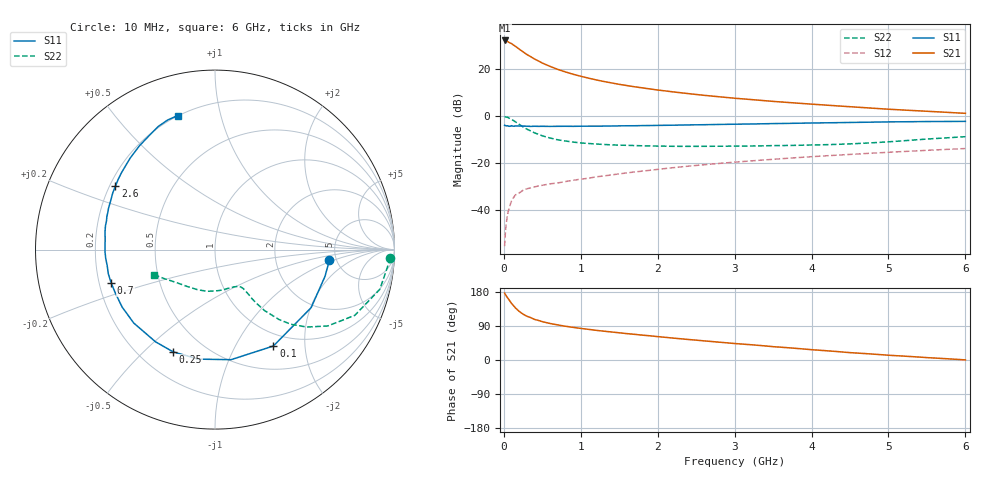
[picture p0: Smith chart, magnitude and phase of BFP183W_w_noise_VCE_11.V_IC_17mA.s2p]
! Infineon Technologies  Discrete & RF Semiconductors
! BFP183W
! VCE =  11. V,  IC =  17 mA
! Common Emitter S-Parameters:  Jan 2017
# GHz  S  MA  R  50
!  f  S11  S21  S12  S22
! GHz  MAG  ANG  MAG  ANG  MAG  ANG  MAG  ANG
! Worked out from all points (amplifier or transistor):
!   77 points, 10 MHz to 6 GHz, reference 50 ohm
!   highest |S21| = 32.3 dB at 10 MHz (marker M1)
!   |S21| within 3 dB of that: start of sweep to 171.6 MHz
!   unconditionally stable (mu >= 1): 1.334 GHz to 3.734 GHz
!   at 130 MHz: K = 0.21, MSG = 32.4 dB, |S12| = -34.5 dB
!   at 2.2 GHz: K = 1.06, MAG = 14.6 dB, |S12| = -21.9 dB
!   at 6 GHz: K = 0.86, MSG = 7.5 dB, |S12| = -13.8 dB
!   lowest NFmin = 1.12 dB at 450 MHz
!   S11 on the Smith chart (normalised r, x): 10 MHz: 4.38, -0.88; 100 MHz: 0.81, -1.44; 250 MHz: 0.34, -0.62; 700 MHz: 0.25, -0.15; 2.6 GHz: 0.22, +0.28; 6 GHz: 0.20, +0.74
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0.01  0.6404 -5.3  41.03 176.6  0.0017 74.4  0.9781 -2.7
0.02  0.6307 -13.7  40.3 172.7  0.0033 85.9  0.9667 -5.5
0.05  0.6258 -31.1  38.81 163.5  0.0083 76.3  0.9445 -13.6
0.1  0.628 -58.8  35.15 149.1  0.0156 67.3  0.8605 -25.2
0.15  0.6198 -81.7  30.86 137.5  0.021 57.0  0.7589 -34.1
0.2  0.6172 -98.6  26.83 128.2  0.0231 52.5  0.6685 -40.2
0.25  0.6156 -112.3  23.45 121.0  0.0264 47.9  0.5922 -44.6
0.3  0.6113 -122.8  20.58 115.4  0.0284 45.8  0.5289 -47.5
0.4  0.6102 -137.9  16.46 107.1  0.0312 43.7  0.4401 -50.8
0.5  0.6084 -148.2  13.54 101.2  0.0337 43.7  0.382 -52.2
0.6  0.6058 -156.1  11.51 96.4  0.0361 43.8  0.3427 -53.0
0.7  0.6078 -162.2  9.946 92.6  0.0378 45.9  0.3141 -53.1
0.9  0.6072 -171.6  7.819 86.1  0.0431 48.4  0.2808 -53.7
1.1  0.6128 -178.8  6.459 80.9  0.0476 50.5  0.2621 -54.5
1.3  0.6142 175.1  5.481 76.1  0.0533 52.8  0.2499 -56.0
1.5  0.6215 170.1  4.769 71.8  0.059 53.9  0.2415 -58.0
2.1  0.6389 156.7  3.451 59.8  0.0767 55.5  0.2294 -67.8
2.6  0.6579 147.5  2.785 50.5  0.0922 55.3  0.228 -79.1
3.1  0.6774 139.1  2.34 42.0  0.1079 53.9  0.2304 -91.0
4.1  0.7189 124.6  1.759 25.8  0.1402 50.1  0.2451 -116.1
5.1  0.7576 113.8  1.378 11.4  0.1734 44.9  0.2918 -142.3
6  0.7751 105.6  1.15 0.3  0.2045 39.3  0.3654 -157.3
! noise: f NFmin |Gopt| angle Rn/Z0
0.45  1.12  0.17  164  -0.02
0.9  1.15  0.23  169  0.09
1.9  1.61  0.4  -165  0.08
2.4  1.84  0.44  -159  0.11
